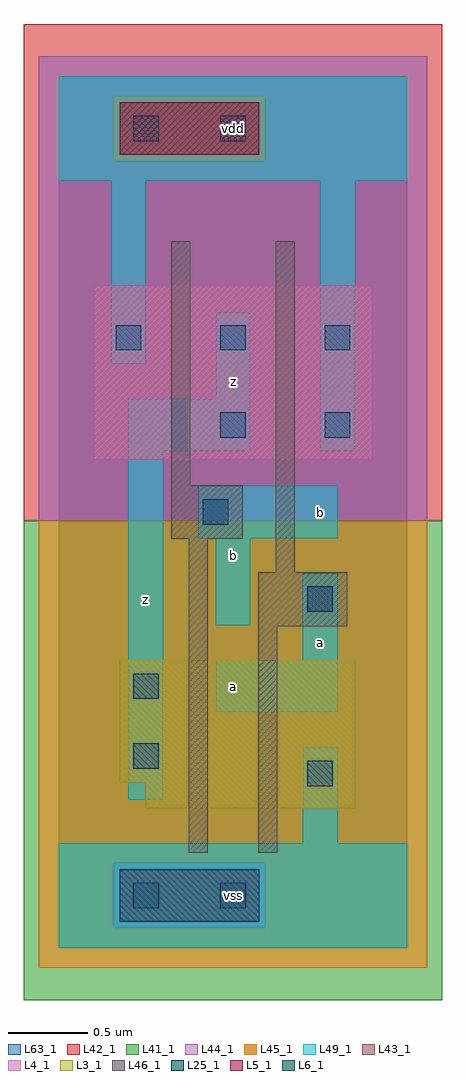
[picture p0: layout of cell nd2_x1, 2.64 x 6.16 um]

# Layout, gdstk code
import gdstk
lib = gdstk.Library(unit=1e-6, precision=1e-09)
def R(c, l, rs):  # rectangles x0, y0, x1, y1
    for r in rs: c.add(gdstk.rectangle(r[:2], r[2:], *l))
def A(c, l, x, y, w, h, nx, ny, dx, dy):  # array of equal rectangles
    R(c, l, [(x+i*dx, y+j*dy, x+i*dx+w, y+j*dy+h) for i in range(nx) for j in range(ny)])
L3_1 = (3, 1)
L4_1 = (4, 1)
L5_1 = (5, 1)
L6_1 = (6, 1)
L25_1 = (25, 1)
L41_1 = (41, 1)
L42_1 = (42, 1)
L43_1 = (43, 1)
L44_1 = (44, 1)
L45_1 = (45, 1)
L46_1 = (46, 1)
L49_1 = (49, 1)
L63_1 = (63, 1)

nd2_x1 = lib.new_cell('nd2_x1')
R(nd2_x1, L3_1, [(0.55,0.88,1.87,1.045), (0.385,1.045,1.87,1.815)])
R(nd2_x1, L4_1, [(0.22,3.08,1.98,4.18)])
R(nd2_x1, L5_1, [(0.385,5.005,1.265,5.335)])
R(nd2_x1, L6_1, [(0.385,0.165,1.265,0.495)])
A(nd2_x1, L25_1, 0.36, 3.77, 0.16, 0.16, 3, 1, 0.66, 0)
R(nd2_x1, L25_1, [(0.47,0.25,0.63,0.41), (1.02,0.25,1.18,0.41), (1.57,1.02,1.73,1.18), (0.47,1.13,0.63,1.29), (0.47,1.57,0.63,1.73), (1.57,2.12,1.73,2.28), (0.91,2.67,1.07,2.83), (1.02,3.22,1.18,3.38), (1.68,3.22,1.84,3.38), (0.47,5.09,0.63,5.25), (1.02,5.09,1.18,5.25)])
R(nd2_x1, L41_1, [(-0.22,-0.33,2.42,2.695)])
R(nd2_x1, L42_1, [(-0.22,2.695,2.42,5.83)])
R(nd2_x1, L43_1, [(0.385,0.165,1.265,0.495), (0.55,0.88,1.87,1.045), (0.385,1.045,1.87,1.815), (0.22,3.08,1.98,4.18), (0.385,5.005,1.265,5.335)])
R(nd2_x1, L44_1, [(0.345,0.125,1.305,0.535), (-0.125,2.695,2.325,4.965), (-0.125,4.965,0.345,5.375), (1.305,4.965,2.325,5.375), (-0.125,5.375,2.325,5.625)])
R(nd2_x1, L45_1, [(-0.125,-0.125,2.325,0.125), (-0.125,0.125,0.345,0.535), (1.305,0.125,2.325,0.535), (-0.125,0.535,2.325,2.695), (0.345,4.965,1.305,5.375)])
R(nd2_x1, L46_1, [(0.82,0.6,0.94,2.58), (1.26,0.6,1.38,2.03), (1.26,2.03,1.82,2.37), (1.37,2.37,1.49,4.46), (0.71,2.58,1.16,2.92), (0.71,2.92,0.83,4.46)])
R(nd2_x1, L49_1, [(0,0,2.2,0.66), (1.54,0.66,1.76,1.265), (0.44,0.935,0.66,3.135), (0.99,1.485,1.76,1.815), (1.54,1.815,1.76,2.365), (0.99,2.035,1.21,2.585), (0.88,2.585,1.76,2.915), (0.44,3.135,1.21,3.465), (1.65,3.135,1.87,4.84), (0.99,3.465,1.21,4.015), (0.33,3.685,0.55,4.84), (0,4.84,2.2,5.5)])
R(nd2_x1, L63_1, [(0,0,2.2,5.5)])
nd2_x1.add(gdstk.Label('z', (0.55,2.2), layer=49, texttype=1))
nd2_x1.add(gdstk.Label('z', (0.55,2.2), layer=49, texttype=1))
nd2_x1.add(gdstk.Label('vss', (1.1,0.33), layer=49, texttype=1))
nd2_x1.add(gdstk.Label('vss', (1.1,0.33), layer=49, texttype=1))
nd2_x1.add(gdstk.Label('a', (1.1,1.65), layer=49, texttype=1))
nd2_x1.add(gdstk.Label('b', (1.1,2.475), layer=49, texttype=1))
nd2_x1.add(gdstk.Label('a', (1.1,1.65), layer=49, texttype=1))
nd2_x1.add(gdstk.Label('b', (1.1,2.475), layer=49, texttype=1))
nd2_x1.add(gdstk.Label('z', (1.1,3.575), layer=49, texttype=1))
nd2_x1.add(gdstk.Label('z', (1.1,3.575), layer=49, texttype=1))
nd2_x1.add(gdstk.Label('vdd', (1.1,5.17), layer=49, texttype=1))
nd2_x1.add(gdstk.Label('vdd', (1.1,5.17), layer=49, texttype=1))
nd2_x1.add(gdstk.Label('a', (1.65,1.925), layer=49, texttype=1))
nd2_x1.add(gdstk.Label('a', (1.65,1.925), layer=49, texttype=1))
nd2_x1.add(gdstk.Label('b', (1.65,2.75), layer=49, texttype=1))
nd2_x1.add(gdstk.Label('b', (1.65,2.75), layer=49, texttype=1))

lib.write_gds('nd2_x1.gds')
